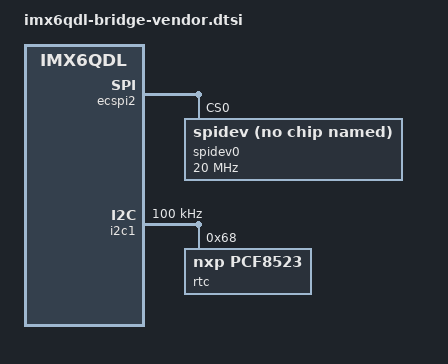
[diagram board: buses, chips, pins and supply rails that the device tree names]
/*
 * Device Tree file for DemandSideInstruments MiniBridge
 * Copyright (C) 2018 Ronan Lanoe <ronan.lanoe@dsinstruments.fr>
 *
 * This file is dual-licensed: you can use it either under the terms
 * of the GPL or the X11 license, at your option. Note that this dual
 * licensing only applies to this file, and not this project as a
 * whole.
 *
 *  a) This file is free software; you can redistribute it and/or
 *     modify it under the terms of the GNU General Public License as
 *     published by the Free Software Foundation; either version 2 of the
 *     License.
 *
 *     This file is distributed in the hope that it will be useful
 *     but WITHOUT ANY WARRANTY; without even the implied warranty of
 *     MERCHANTABILITY or FITNESS FOR A PARTICULAR PURPOSE.  See the
 *     GNU General Public License for more details.
 *
 * Or, alternatively
 *
 *  b) Permission is hereby granted, free of charge, to any person
 *     obtaining a copy of this software and associated documentation
 *     files (the "Software"), to deal in the Software without
 *     restriction, including without limitation the rights to use
 *     copy, modify, merge, publish, distribute, sublicense, and/or
 *     sell copies of the Software, and to permit persons to whom the
 *     Software is furnished to do so, subject to the following
 *     conditions:
 *
 *     The above copyright notice and this permission notice shall be
 *     included in all copies or substantial portions of the Software.
 *
 *     THE SOFTWARE IS PROVIDED , WITHOUT WARRANTY OF ANY KIND
 *     EXPRESS OR IMPLIED, INCLUDING BUT NOT LIMITED TO THE WARRANTIES
 *     OF MERCHANTABILITY, FITNESS FOR A PARTICULAR PURPOSE AND
 *     NONINFRINGEMENT. IN NO EVENT SHALL THE AUTHORS OR COPYRIGHT
 *     HOLDERS BE LIABLE FOR ANY CLAIM, DAMAGES OR OTHER LIABILITY
 *     WHETHER IN AN ACTION OF CONTRACT, TORT OR OTHERWISE, ARISING
 *     FROM, OUT OF OR IN CONNECTION WITH THE SOFTWARE OR THE USE OR
 *     OTHER DEALINGS IN THE SOFTWARE.
 */

/ {
	aliases {
		mmc0 = &usdhc2;
		mmc1 = &usdhc1;
	};
};

&ecspi2 {
	fsl,spi-num-chipselects = <1>;

	spidev0: spi@0 {
		compatible = "spidev";
		reg = <0>;
		spi-max-frequency = <20000000>;
	};
};

&gpc {
	fsl,cpu_pupscr_sw2iso = <0xf>;
	fsl,cpu_pupscr_sw = <0xf>;
	fsl,cpu_pdnscr_iso2sw = <0x1>;
	fsl,cpu_pdnscr_iso = <0x1>;
};

&pwm3 {
	status = "disabled";
};

&pwm4 {
	status = "disabled";
};

&i2c1 {
	clock-frequency = <100000>;
	pinctrl-names = "default";
	pinctrl-0 = <&pinctrl_hummingboard2_i2c1>;
	status = "okay";

	/* Pro baseboard model */
	rtc@68 {
		compatible = "nxp,pcf8523";
		reg = <0x68>;
		nxp,12p5_pf;
	};
};

&ssi1 {
	fsl,mode = "i2s-slave";
};
